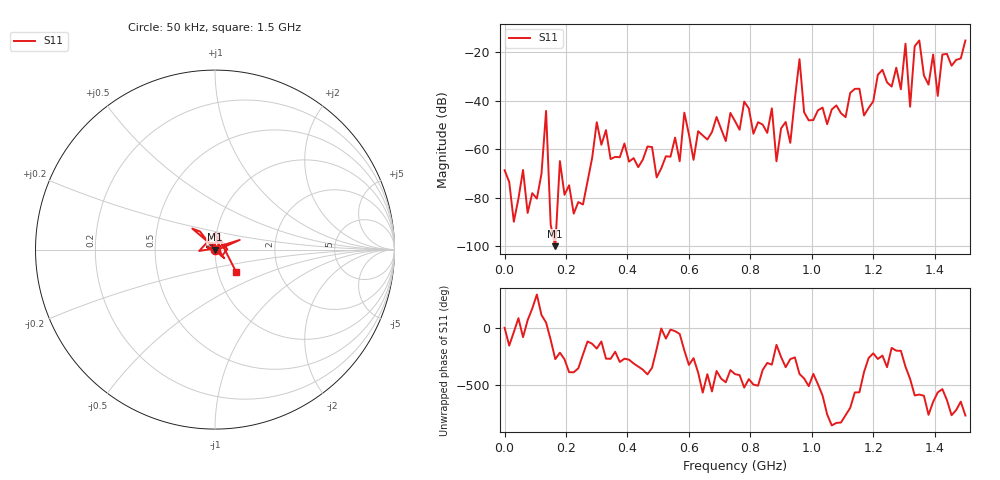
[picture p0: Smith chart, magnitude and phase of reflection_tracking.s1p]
! Created with skrf 1.8.0 (http://scikit-rf.org).
# Hz S RI R 50.0
!freq ReS11 ImS11
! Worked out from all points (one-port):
!   101 points, 50 kHz to 1.5 GHz, reference 50 ohm
!   lowest |S11| = -100.0 dB at 165 MHz (marker M1), VSWR 1.00, Z = 50 + j0.001 ohm
!   |S11| at or under -10 dB: start of sweep to end of sweep
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50000  0.000367 2e-05
1.050465e8  3.95e-05 -8.7e-05
1.350455e8  0.00402 0.00459
1.50045e8  -5.96e-06 -2.69e-05
1.650445e8  3.67e-07 1e-05
1.80044e8  -0.000462 0.000328
1.950435e8  7.54e-06 0.000114
2.550415e8  -4.41e-05 5.72e-05
3.0004e8  -0.00357 -1.79e-05
3.750375e8  0.000308 0.000606
5.70031e8  0.00035 -0.000438
5.850305e8  -0.00543 0.00145
6.150295e8  -6.86e-05 0.000597
7.50025e8  0.00274 -0.0026
8.70021e8  0.00534 0.0044
8.850205e8  -0.000469 -0.000307
9.30019e8  3.87e-05 0.00134
9.450185e8  -0.00248 0.0106
9.60018e8  0.0522 -0.048
9.90017e8  -0.00335 -0.002
1.125012e9  0.0134 0.00495
1.290007e9  -0.016 0.00561
1.305006e9  0.1378 0.0537
1.320006e9  0.000586 -0.00743
1.350005e9  -0.1265 0.1171
1.410003e9  -0.0114 0.00507
1.425002e9  -0.0882 -0.00764
1.5e9  0.1179 -0.1249
